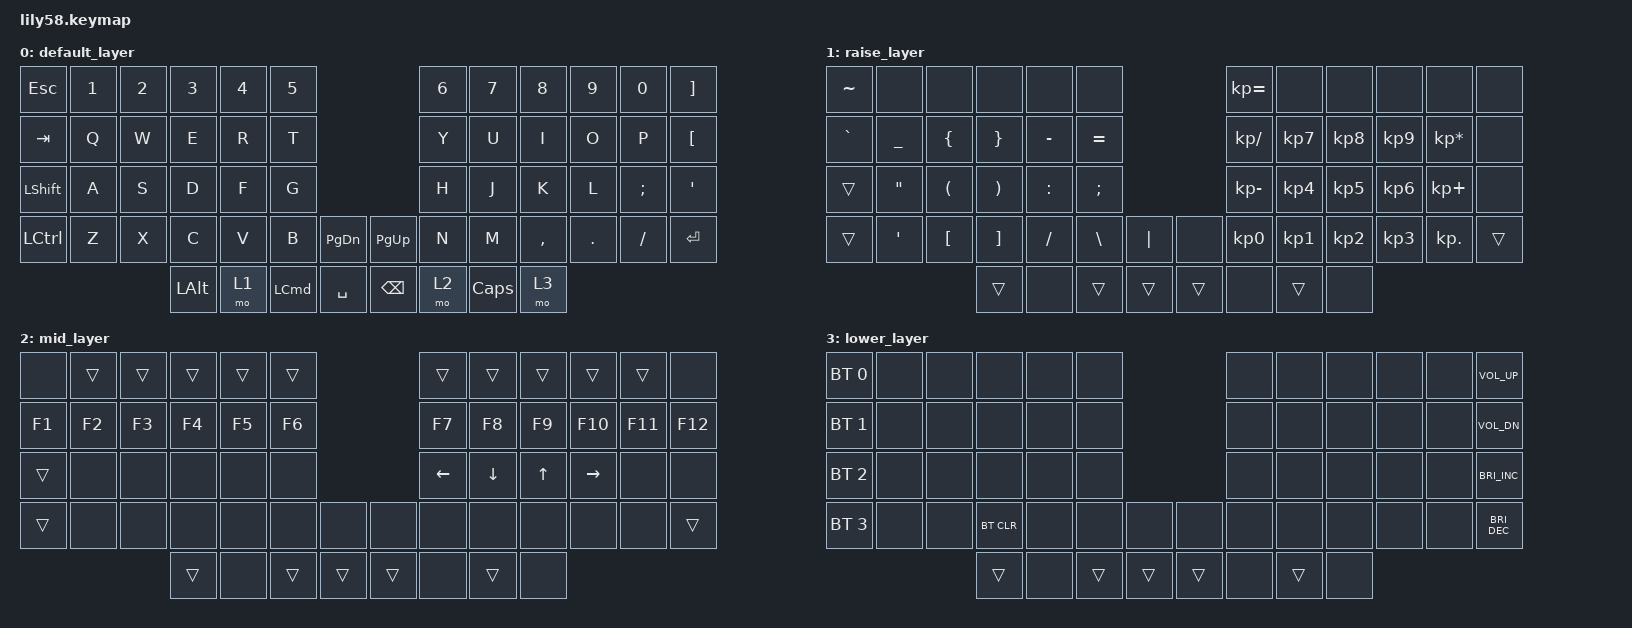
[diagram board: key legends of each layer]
/*
 * Copyright (c) 2020 The ZMK Contributors
 *
 * SPDX-License-Identifier: MIT
 */

#include <behaviors.dtsi>
#include <dt-bindings/zmk/bt.h>
#include <dt-bindings/zmk/keys.h>

/ {
    keymap {
        compatible = "zmk,keymap";

        default_layer {
            // ------------------------------------------------------------------------------------------------------------
            // |  ESC  |  1  |  2  |  3   |  4   |  5   |                   |  6   |  7    |  8    |  9   |   0   |   `   |
            // |  TAB  |  Q  |  W  |  E   |  R   |  T   |                   |  Y   |  U    |  I    |  O   |   P   |   -   |
            // | SHIFT |  A  |  S  |  D   |  F   |  G   |                   |  H   |  J    |  K    |  L   |   ;   |   '   |
            // | CTRL  |  Z  |  X  |  C   |  V   |  B   |   "["  |  |  "]"  |  N   |  M    |  ,    |  .   |   /   | SHIFT |
            //                     | ALT  | GUI  | LOWER|  SPACE |  | ENTER | RAISE| BSPC  | GUI   |

            bindings = <
&kp ESC     &kp NUMBER_1  &kp NUMBER_2  &kp NUMBER_3  &kp NUMBER_4  &kp NUMBER_5                                &kp NUMBER_6  &kp NUMBER_7  &kp NUMBER_8  &kp NUMBER_9  &kp NUMBER_0   &kp RIGHT_BRACKET
&kp TAB     &kp Q         &kp W         &kp E         &kp R         &kp T                                       &kp Y         &kp U         &kp I         &kp O         &kp P          &kp LBKT
&kp LSHIFT  &kp A         &kp S         &kp D         &kp F         &kp G                                       &kp H         &kp J         &kp K         &kp L         &kp SEMICOLON  &kp SINGLE_QUOTE
&kp LCTRL   &kp Z         &kp X         &kp C         &kp V         &kp B         &kp PAGE_DOWN    &kp PAGE_UP  &kp N         &kp M         &kp COMMA     &kp DOT       &kp FSLH       &kp ENTER
                                        &kp LALT      &mo 1         &kp LCMD      &kp SPACE        &kp BSPC     &mo 2         &kp CAPSLOCK  &mo 3
            >;
        };

        raise_layer {
            // --------------------------------------------------------------------------------------------------------------
            // |       | BRDn | BRUp |  MUT |  Vo- |  Vo+ |                   |      |       |       |      |       |       |
            // |  F1   |  F2  |  F3  |  F4  |  F5  |  F6  |                   |  F7  |  F8   |  F9   |  F10 |  F11  |  F12  |
            // |       |  !   |  @   |  #   |  $   |  %   |                   |  ^   |  &    |  *    |  (   |   )   |   ~   |
            // |       | CAPS |      |      |      |      |        |  |       |      |  _    |  +    |  {   |   }   |  "|"  |
            //                       |      |      |      |        |  |       |      |       |       |

            bindings = <
&kp TILDE  &none              &none                 &none                  &none      &none                              &kp KP_EQUAL     &none            &none            &none            &none            &none
&kp GRAVE  &kp UNDERSCORE     &kp LEFT_BRACE        &kp RIGHT_BRACE        &kp MINUS  &kp EQUAL                          &kp KP_DIVIDE    &kp KP_NUMBER_7  &kp KP_NUMBER_8  &kp KP_NUMBER_9  &kp KP_MULTIPLY  &none
&trans     &kp DOUBLE_QUOTES  &kp LEFT_PARENTHESIS  &kp RIGHT_PARENTHESIS  &kp COLON  &kp SEMICOLON                      &kp KP_MINUS     &kp KP_NUMBER_4  &kp KP_NUMBER_5  &kp KP_NUMBER_6  &kp KP_PLUS      &none
&trans     &kp SINGLE_QUOTE   &kp LEFT_BRACKET      &kp RIGHT_BRACKET      &kp SLASH  &kp BACKSLASH  &kp PIPE    &none   &kp KP_NUMBER_0  &kp KP_NUMBER_1  &kp KP_NUMBER_2  &kp KP_NUMBER_3  &kp KP_DOT       &trans
                                                    &trans                 &none      &trans         &trans      &trans  &none            &trans           &none
            >;
        };

        mid_layer {
            // ------------------------------------------------------------------------------------------------------------
            // |       |     |     |      |      |      |                   |BT_CLR| BT_1  | BT_2  | BT_3 | BT_4  | BT_5  |
            // |   `   |  1  |  2  |  3   |  4   |  5   |                   |  6   |   7   |   8   |  9   |   0   |       |
            // |   F1  |  F2 |  F3 |  F4  |  F5  |  F6  |                   |      |   <-  |   v   |  ^   |  ->   |       |
            // |   F7  |  F8 |  F9 |  F10 |  F11 |  F12 |        |  |       |  +   |   -   |   =   |  [   |   ]   |   \   |
            //                     |      |      |      |        |  |       |      |       |       |

            bindings = <
&none   &trans  &trans  &trans  &trans  &trans                    &trans          &trans          &trans        &trans           &trans   &none
&kp F1  &kp F2  &kp F3  &kp F4  &kp F5  &kp F6                    &kp F7          &kp F8          &kp F9        &kp F10          &kp F11  &kp F12
&trans  &none   &none   &none   &none   &none                     &kp LEFT_ARROW  &kp DOWN_ARROW  &kp UP_ARROW  &kp RIGHT_ARROW  &none    &none
&trans  &none   &none   &none   &none   &none   &none     &none   &none           &none           &none         &none            &none    &trans
                        &trans  &none   &trans  &trans    &trans  &none           &trans          &none
            >;
        };

        lower_layer {
            bindings = <
&bt BT_SEL 0  &none  &none  &none       &none  &none                     &none  &none   &none  &none  &none  &kp C_VOLUME_UP
&bt BT_SEL 1  &none  &none  &none       &none  &none                     &none  &none   &none  &none  &none  &kp C_VOL_DN
&bt BT_SEL 2  &none  &none  &none       &none  &none                     &none  &none   &none  &none  &none  &kp C_BRIGHTNESS_INC
&bt BT_SEL 3  &none  &none  &bt BT_CLR  &none  &none   &none     &none   &none  &none   &none  &none  &none  &kp C_BRI_DEC
                            &trans      &none  &trans  &trans    &trans  &none  &trans  &none
            >;
        };
    };
};
